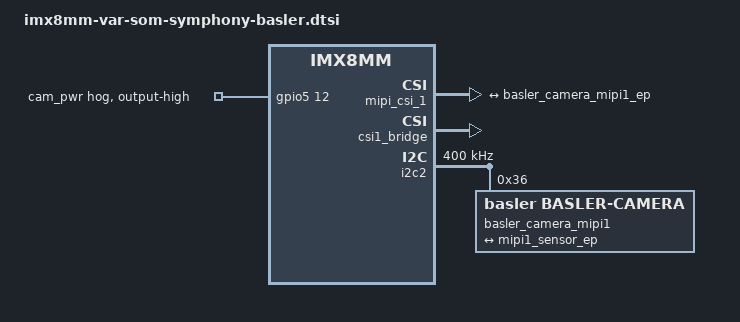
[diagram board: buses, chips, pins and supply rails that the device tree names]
/*
 *  Devicetree for a Basler camera on Variscite VAR-SOM-MX8M-MINI
 *
 *  Created by Hauke Wulff on 23.07.19.
 *  Copyright (c) 2019 Basler AG. All rights reserved.
 *  Copyright 2020-2021 Variscite Ltd.
 *
 */

&ov5640_mipi1 {
	status = "disabled";
};

&mipi_csi_1 {
	#address-cells = <1>;
	#size-cells = <0>;
	status = "okay";

	port {
		mipi1_sensor_ep: endpoint@1 {
			remote-endpoint = <&basler_camera_mipi1_ep>;
			/* If the following entries are changed, then
			 * the entries in the basler_camera_mipi1_ep node
			 * need to updated too. */
			/* On the i.mx8mmini NXP uses data-lanes
			 * other than expected by the kernel.
			 * On the imx8mmini the entry data-lanes
			 * must contain the number of data lanes.
			 */
			data-lanes = <4>;
			clock-lanes = <0>;
			link-frequencies = /bits/ 64 <496000000>;

			pixel-mode = <1>;
			csis-hs-settle = <13>;
			csis-clk-settle = <2>;
			csis-wclk;
		};
	};
};

&csi1_bridge {
	dma-coherent;
	bsl,dma-invalidate;
	fsl,two-8bit-sensor-mode;
	yuv-double-component;
	status = "okay";
};

&i2c2 {
	clock-frequency = <400000>;

	/delete-node/ov5640_mipi1@3c;

	basler_camera_mipi1: basler_camera_mipi@36 {
		compatible = "basler,basler-camera";
		reg = <0x36>;
		pinctrl-names = "default";
		pinctrl-0 = <&pinctrl_csi1>;
		status = "okay";

		port {
			basler_camera_mipi1_ep: endpoint {
				remote-endpoint = <&mipi1_sensor_ep>;

				/* IMPORTANT: The following three entries needs to be held
				 * in sync with the information stored in the csi1_mipi_ep node
				 */
				data-lanes = <1 2 3 4>;
				clock-lanes = <0>;
				link-frequencies = /bits/ 64 <496000000>;
			};
		};
	};
};

&gpio5 {
	cam_pwr_hog {
		gpio-hog;
		gpios = <12 0>;
		output-high;
		line-name = "cam_pwr";
	};
};
